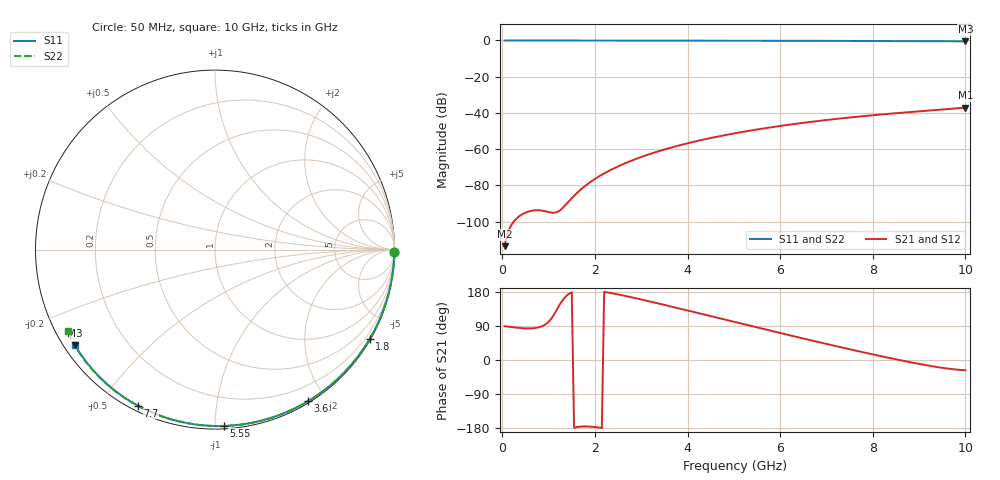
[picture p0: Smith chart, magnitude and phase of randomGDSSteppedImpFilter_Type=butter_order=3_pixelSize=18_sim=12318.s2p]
! freq	dB(S11)	phase(S11)	dB(S12)	phase(S12)
!  dB(S21)	phase(S21)	dB(S22)	phase(S22)
!S-par simulation data
#  GHz  S  DB  R 50
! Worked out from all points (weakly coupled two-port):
!   200 points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, 50 MHz to 10 GHz, reference 50 ohm
!   highest |S21| = -37.07 dB at 10 GHz (marker M1); lowest = -113.6 dB at 50 MHz (marker M2)
!   lowest |S11| = -0.5 dB at 10 GHz (marker M3), VSWR 35.02, Z = 1.56 - j15.4 ohm
!   |S11| at or under -10 dB: nowhere
!   |S22| runs from -0.5 to 0.0 dB; largest |S21 - S12| = 0
!   S11 on the Smith chart (normalised r, x): 50 MHz: open; 1.8 GHz: 0.03, -3.73; 3.6 GHz: 0.02, -1.78; 5.55 GHz: 0.02, -1.05; 7.7 GHz: 0.02, -0.62; 10 GHz: 0.03, -0.31
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0.05  -0.00 -0.9  -113.57 89.2  -113.57 89.2  -0.00 -0.9
0.45  -0.01 -7.6  -95.68 83.8  -95.68 83.8  -0.01 -7.7
0.9  -0.02 -15.1  -94.12 91.7  -94.12 91.7  -0.02 -15.4
1.3  -0.03 -21.8  -92.56 157.4  -92.56 157.4  -0.03 -22.2
1.75  -0.04 -29.2  -81.10 -175.3  -81.10 -175.3  -0.04 -29.8
1.8  -0.04 -30.0  -80.08 -175.3  -80.08 -175.3  -0.04 -30.6
2  -0.04 -33.3  -76.47 -176.9  -76.47 -176.9  -0.04 -33.9
2.15  -0.05 -35.7  -74.13 -179.3  -74.13 -179.3  -0.05 -36.4
2.3  -0.05 -38.1  -72.03 177.6  -72.03 177.6  -0.05 -38.8
2.5  -0.05 -41.4  -69.53 173.0  -69.53 173.0  -0.05 -42.1
2.9  -0.06 -47.7  -65.28 162.5  -65.28 162.5  -0.06 -48.6
3.4  -0.07 -55.5  -60.96 148.3  -60.96 148.3  -0.07 -56.5
3.6  -0.08 -58.6  -59.47 142.5  -59.47 142.5  -0.08 -59.6
4.3  -0.10 -69.1  -54.97 121.7  -54.97 121.7  -0.10 -70.4
5.05  -0.12 -80.1  -51.11 99.3  -51.11 99.3  -0.12 -81.6
5.55  -0.14 -87.2  -48.94 84.5  -48.94 84.5  -0.15 -88.8
6.1  -0.17 -94.9  -46.84 68.3  -46.84 68.3  -0.17 -96.6
6.7  -0.20 -103.0  -44.84 50.9  -44.84 50.9  -0.20 -105.0
7.7  -0.27 -116.3  -42.02 22.9  -42.02 22.9  -0.27 -118.6
8.35  -0.32 -124.7  -40.49 5.6  -40.49 5.6  -0.32 -127.4
9.25  -0.41 -136.2  -38.65 -15.8  -38.65 -15.8  -0.42 -139.8
10  -0.50 -145.8  -37.07 -27.0  -37.07 -27.0  -0.55 -150.9
